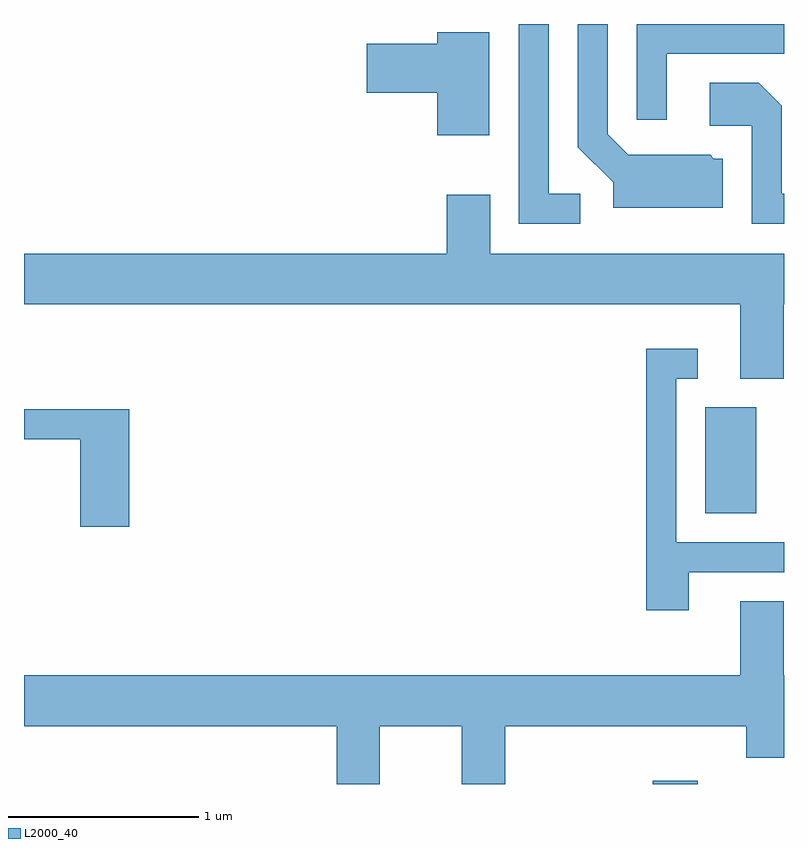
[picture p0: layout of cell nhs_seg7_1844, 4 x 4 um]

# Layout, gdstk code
import gdstk
lib = gdstk.Library(unit=1e-6, precision=1e-09)
def R(c, l, rs):  # rectangles x0, y0, x1, y1
    for r in rs: c.add(gdstk.rectangle(r[:2], r[2:], *l))
def P(c, l, *ps):  # polygons
    for p in ps: c.add(gdstk.Polygon(p, *l))
L2000_40 = (2000, 40)

nhs_seg7_1844 = lib.new_cell('nhs_seg7_1844')
R(nhs_seg7_1844, L2000_40, [(244.921,1696.252,245.158,1696.269), (245.196,1697.676,245.464,1698.234)])
P(nhs_seg7_1844, L2000_40, [(245.289,1699.544),(245.242,1699.544),(245.222,1699.564),(244.792,1699.564),(244.684,1699.672),(244.684,1700.252),(244.526,1700.252),(244.526,1699.604),(244.711,1699.419),(244.711,1699.286),(245.289,1699.286)],
  [(244.538,1699.359),(244.374,1699.359),(244.374,1700.252),(244.216,1700.252),(244.216,1699.201),(244.538,1699.201)],
  [(244.994,1700.096),(245.611,1700.096),(245.611,1700.252),(244.836,1700.252),(244.836,1699.748),(244.994,1699.748)],
  [(244.059,1700.209),(243.786,1700.209),(243.786,1700.149),(243.416,1700.149),(243.416,1699.891),(243.786,1699.891),(243.786,1699.666),(244.059,1699.666)],
  [(245.611,1699.359),(245.599,1699.359),(245.599,1699.822),(245.477,1699.944),(245.221,1699.944),(245.221,1699.716),(245.441,1699.716),(245.441,1699.201),(245.611,1699.201)],
  [(245.609,1698.776),(245.611,1698.776),(245.611,1699.044),(244.064,1699.044),(244.064,1699.354),(243.836,1699.354),(243.836,1699.044),(241.611,1699.044),(241.611,1698.776),(245.381,1698.776),(245.381,1698.386),(245.609,1698.386)],
  [(245.109,1697.366),(245.611,1697.366),(245.611,1697.524),(245.044,1697.524),(245.044,1698.386),(245.158,1698.386),(245.158,1698.544),(244.886,1698.544),(244.886,1697.166),(245.109,1697.166)],
  [(242.164,1698.224),(241.611,1698.224),(241.611,1698.066),(241.906,1698.066),(241.906,1697.606),(242.164,1697.606)],
  [(243.484,1696.556),(243.916,1696.556),(243.916,1696.252),(244.144,1696.252),(244.144,1696.556),(245.411,1696.556),(245.411,1696.391),(245.611,1696.391),(245.611,1696.824),(245.609,1696.824),(245.609,1697.214),(245.381,1697.214),(245.381,1696.824),(241.611,1696.824),(241.611,1696.556),(243.256,1696.556),(243.256,1696.252),(243.484,1696.252)])

lib.write_gds('nhs_seg7_1844.gds')
